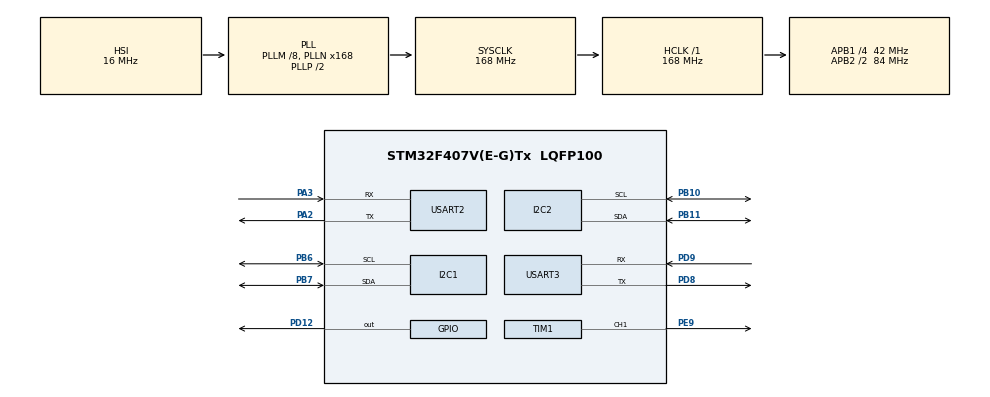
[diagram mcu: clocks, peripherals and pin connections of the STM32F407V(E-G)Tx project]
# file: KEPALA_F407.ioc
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Mcu.Family=STM32F4
Mcu.Name=STM32F407V(E-G)Tx
Mcu.Package=LQFP100
NVIC.PriorityGroup=NVIC_PRIORITYGROUP_4
PA13.Mode=Serial_Wire
PA13.Signal=SYS_JTMS-SWDIO
PA14.Mode=Serial_Wire
PA14.Signal=SYS_JTCK-SWCLK
PA2.Mode=Asynchronous
PA2.Signal=USART2_TX
PA3.Mode=Asynchronous
PA3.Signal=USART2_RX
PB10.Mode=I2C
PB10.Signal=I2C2_SCL
PB11.Mode=I2C
PB11.Signal=I2C2_SDA
PB6.Mode=I2C
PB6.Signal=I2C1_SCL
PB7.Mode=I2C
PB7.Signal=I2C1_SDA
PD12.Signal=GPIO_Output
PD8.Mode=Asynchronous
PD8.Signal=USART3_TX
PD9.Mode=Asynchronous
PD9.Signal=USART3_RX
PE9.Signal=S_TIM1_CH1
PH0-OSC_IN.Mode=HSE-External-Oscillator
PH0-OSC_IN.Signal=RCC_OSC_IN
PH1-OSC_OUT.Mode=HSE-External-Oscillator
PH1-OSC_OUT.Signal=RCC_OSC_OUT
ProjectManager.HeapSize=0x200
ProjectManager.StackSize=0x400
ProjectManager.TargetToolchain=MDK-ARM V5.32
RCC.48MHZClocksFreq_Value=84000000
RCC.AHBFreq_Value=168000000
RCC.APB1CLKDivider=RCC_HCLK_DIV4
RCC.APB1Freq_Value=42000000
RCC.APB1TimFreq_Value=84000000
RCC.APB2CLKDivider=RCC_HCLK_DIV2
RCC.APB2Freq_Value=84000000
RCC.APB2TimFreq_Value=168000000
RCC.CortexFreq_Value=168000000
RCC.HCLKFreq_Value=168000000
RCC.HSE_VALUE=25000000
RCC.HSI_VALUE=16000000
RCC.LSE_VALUE=32768
RCC.PLLM=8
RCC.PLLN=168
RCC.SYSCLKFreq_VALUE=168000000
RCC.SYSCLKSource=RCC_SYSCLKSOURCE_PLLCLK
RCC.VCOOutputFreq_Value=336000000
SH.S_TIM1_CH1.0=TIM1_CH1,PWM Generation1 CH1
TIM1.Channel-PWM\ Generation1\ CH1=TIM_CHANNEL_1
TIM1.Period=1818-1
TIM1.Prescaler=16800-1
USART2.VirtualMode=VM_ASYNC
USART3.VirtualMode=VM_ASYNC
VP_TIM1_VS_ClockSourceINT.Mode=Internal
board=custom

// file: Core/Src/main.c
/* USER CODE BEGIN Header */
/**
  ******************************************************************************
  * @file           : main.c
  * @brief          : Main program body
  ******************************************************************************
  * @attention
  *
  * Copyright (c) 2023 STMicroelectronics.
  * All rights reserved.
  *
  * This software is licensed under terms that can be found in the LICENSE file
  * in the root directory of this software component.
  * If no LICENSE file comes with this software, it is provided AS-IS.
  *
  ******************************************************************************
  */
/* USER CODE END Header */
#include "main.h"

/* USER CODE BEGIN Includes */
#include "AMG8833.h"
#include "DWT_Delay.h"
#include "Huskylens_driver.h"
#include "Ping_driver.h"
#include "RPLidarA1.h"

#include <math.h>
/* USER CODE END Includes */

/* USER CODE BEGIN PTD */
lidar_HandleTypeDef lidar;
lidar_StatusTypeDef status;
lidar_home_status_t home;
huskylens_area_identification_t area;
huskylens_victim_detection_t victim;
amg8833_temperature_table_t fire;
huskylens_info_t huskAll;
huskylens_status_t huskStatus;
huskylens_block_t blocks;
Ping_t pingCapit;
amg8833_fire_t fireDetection;
/* USER CODE END PTD */

/* USER CODE BEGIN PD */
#define DIST_STOPPER 100
/* USER CODE END PD */

I2C_HandleTypeDef hi2c1;
I2C_HandleTypeDef hi2c2;

TIM_HandleTypeDef htim1;

UART_HandleTypeDef huart2;
UART_HandleTypeDef huart3;

void SystemClock_Config(void);
static void MX_GPIO_Init(void);
static void MX_I2C1_Init(void);
static void MX_I2C2_Init(void);
static void MX_TIM1_Init(void);
static void MX_USART2_UART_Init(void);
static void MX_USART3_UART_Init(void);

/* USER CODE BEGIN 0 */
double victimDistance = 0;
double pingDistance=0;
double front = 0;
double left = 0;
double right = 0;
double back = 0;
/* USER CODE END 0 */

int main(void)
{
  /* USER CODE BEGIN 1 */
//	lidar.huart = &huart2;
  /* USER CODE END 1 */

  /* MCU Configuration--------------------------------------------------------*/

  /* Reset of all peripherals, Initializes the Flash interface and the Systick. */
  HAL_Init();

  /* Configure the system clock */
  SystemClock_Config();

  /* Initialize all configured peripherals */
  MX_GPIO_Init();
  MX_I2C1_Init();
  MX_I2C2_Init();
  MX_TIM1_Init();
  MX_USART2_UART_Init();
  MX_USART3_UART_Init();
  /* USER CODE BEGIN 2 */

	//------------------------- START LIDAR CONFIG ------------------------------------------

//	TIM1->CCR1 = (100*2000/100);
//	HAL_TIM_PWM_Start(&htim1, TIM_CHANNEL_1);
//
//	lidar_setup(&lidar);
//	HAL_Delay(1000);
//
	//------------------------- END LIDAR CONFIG --------------------------------------------
	//------------------------- START AMG8833 CONFIG ----------------------------------------

//	if(amg8833_setup(&hi2c1)){
//		HAL_GPIO_TogglePin(GPIOD, GPIO_PIN_12);
//	}

	//------------------------- END AMG8833 CONFIG ------------------------------------------
	//------------------------- START HUSKYLENS CONFIG --------------------------------------
//
//	if(husky_setup(&hi2c2) == HUSKY_OK){
//		HAL_GPIO_TogglePin(GPIOD, GPIO_PIN_12);
//	}
//	huskAll = husky_getAllArrowBlock();
	//------------------------- END HUSKYLENS CONFIG ----------------------------------------
	//------------------------- START PING CONFIG ----------------------------------------

	pingCapit.PING_PIN = GPIO_PIN_8;
	pingCapit.PING_PORT = GPIOB;

	//------------------------- END PING CONFIG ----------------------------------------

  /* USER CODE END 2 */

  /* Infinite loop */
  /* USER CODE BEGIN WHILE */
  while (1)
  {

		//------------------------- START LIDAR READING ------------------------------------------
//		status = lidar_start_scan(&lidar);
//		if(status == LIDAR_OK){
//			while(1){
//				status = lidar_get_point(&lidar);
//				status = lidar_get_average_reading(&lidar);
//				status = lidar_set_distance(&lidar, 50);
//				home =  lidar_from_home(&lidar);
//				front = lidar_read_front(&lidar);
//				left = lidar_read_left(&lidar);
//				right = lidar_read_right(&lidar);
//				back = lidar_read_back(&lidar);
//
		//------------------------- START AMG8833 READING --------------------------------------

//		fireDetection =  amg8844_detect_fire();
		//------------------------- END AMG8833 READING ----------------------------------------

		//------------------------- START AMG8833 READING --------------------------------------
//		blocks = husky_getBlocks();
//		area = husky_get_position();
//		victim = husky_victim_position();
		HAL_Delay(10);
//		victimDistance = husky_distance_prediction();
		//------------------------- END AMG8833 READING ----------------------------------------
		//------------------------- START PING READING --------------------------------------

		pingDistance = ping_read(pingCapit);

		//------------------------- END PING READING ----------------------------------------

//			}
//		}
		//------------------------- END LIDAR READING ------------------------------------------

    /* USER CODE END WHILE */

  }
}

void SystemClock_Config(void)
{
  RCC_OscInitTypeDef RCC_OscInitStruct = {0};
  RCC_ClkInitTypeDef RCC_ClkInitStruct = {0};

  /** Configure the main internal regulator output voltage
  */
  __HAL_RCC_PWR_CLK_ENABLE();
  __HAL_PWR_VOLTAGESCALING_CONFIG(PWR_REGULATOR_VOLTAGE_SCALE1);

  /** Initializes the RCC Oscillators according to the specified parameters
  * in the RCC_OscInitTypeDef structure.
  */
  RCC_OscInitStruct.OscillatorType = RCC_OSCILLATORTYPE_HSI;
  RCC_OscInitStruct.HSIState = RCC_HSI_ON;
  RCC_OscInitStruct.HSICalibrationValue = RCC_HSICALIBRATION_DEFAULT;
  RCC_OscInitStruct.PLL.PLLState = RCC_PLL_ON;
  RCC_OscInitStruct.PLL.PLLSource = RCC_PLLSOURCE_HSI;
  RCC_OscInitStruct.PLL.PLLM = 8;
  RCC_OscInitStruct.PLL.PLLN = 168;
  RCC_OscInitStruct.PLL.PLLP = RCC_PLLP_DIV2;
  RCC_OscInitStruct.PLL.PLLQ = 4;
  if (HAL_RCC_OscConfig(&RCC_OscInitStruct) != HAL_OK)
  {
    Error_Handler();
  }

  /** Initializes the CPU, AHB and APB buses clocks
  */
  RCC_ClkInitStruct.ClockType = RCC_CLOCKTYPE_HCLK|RCC_CLOCKTYPE_SYSCLK
                              |RCC_CLOCKTYPE_PCLK1|RCC_CLOCKTYPE_PCLK2;
  RCC_ClkInitStruct.SYSCLKSource = RCC_SYSCLKSOURCE_PLLCLK;
  RCC_ClkInitStruct.AHBCLKDivider = RCC_SYSCLK_DIV1;
  RCC_ClkInitStruct.APB1CLKDivider = RCC_HCLK_DIV4;
  RCC_ClkInitStruct.APB2CLKDivider = RCC_HCLK_DIV2;

  if (HAL_RCC_ClockConfig(&RCC_ClkInitStruct, FLASH_LATENCY_5) != HAL_OK)
  {
    Error_Handler();
  }
}

static void MX_I2C1_Init(void)
{

  hi2c1.Instance = I2C1;
  hi2c1.Init.ClockSpeed = 100000;
  hi2c1.Init.DutyCycle = I2C_DUTYCYCLE_2;
  hi2c1.Init.OwnAddress1 = 0;
  hi2c1.Init.AddressingMode = I2C_ADDRESSINGMODE_7BIT;
  hi2c1.Init.DualAddressMode = I2C_DUALADDRESS_DISABLE;
  hi2c1.Init.OwnAddress2 = 0;
  hi2c1.Init.GeneralCallMode = I2C_GENERALCALL_DISABLE;
  hi2c1.Init.NoStretchMode = I2C_NOSTRETCH_DISABLE;
  if (HAL_I2C_Init(&hi2c1) != HAL_OK)
  {
    Error_Handler();
  }

}

static void MX_I2C2_Init(void)
{

  hi2c2.Instance = I2C2;
  hi2c2.Init.ClockSpeed = 100000;
  hi2c2.Init.DutyCycle = I2C_DUTYCYCLE_2;
  hi2c2.Init.OwnAddress1 = 0;
  hi2c2.Init.AddressingMode = I2C_ADDRESSINGMODE_7BIT;
  hi2c2.Init.DualAddressMode = I2C_DUALADDRESS_DISABLE;
  hi2c2.Init.OwnAddress2 = 0;
  hi2c2.Init.GeneralCallMode = I2C_GENERALCALL_DISABLE;
  hi2c2.Init.NoStretchMode = I2C_NOSTRETCH_DISABLE;
  if (HAL_I2C_Init(&hi2c2) != HAL_OK)
  {
    Error_Handler();
  }

}

static void MX_TIM1_Init(void)
{

  TIM_ClockConfigTypeDef sClockSourceConfig = {0};
  TIM_MasterConfigTypeDef sMasterConfig = {0};
  TIM_OC_InitTypeDef sConfigOC = {0};
  TIM_BreakDeadTimeConfigTypeDef sBreakDeadTimeConfig = {0};

  htim1.Instance = TIM1;
  htim1.Init.Prescaler = 16800-1;
  htim1.Init.CounterMode = TIM_COUNTERMODE_UP;
  htim1.Init.Period = 1818-1;
  htim1.Init.ClockDivision = TIM_CLOCKDIVISION_DIV1;
  htim1.Init.RepetitionCounter = 0;
  htim1.Init.AutoReloadPreload = TIM_AUTORELOAD_PRELOAD_DISABLE;
  if (HAL_TIM_Base_Init(&htim1) != HAL_OK)
  {
    Error_Handler();
  }
  sClockSourceConfig.ClockSource = TIM_CLOCKSOURCE_INTERNAL;
  if (HAL_TIM_ConfigClockSource(&htim1, &sClockSourceConfig) != HAL_OK)
  {
    Error_Handler();
  }
  if (HAL_TIM_PWM_Init(&htim1) != HAL_OK)
  {
    Error_Handler();
  }
  sMasterConfig.MasterOutputTrigger = TIM_TRGO_RESET;
  sMasterConfig.MasterSlaveMode = TIM_MASTERSLAVEMODE_DISABLE;
  if (HAL_TIMEx_MasterConfigSynchronization(&htim1, &sMasterConfig) != HAL_OK)
  {
    Error_Handler();
  }
  sConfigOC.OCMode = TIM_OCMODE_PWM1;
  sConfigOC.Pulse = 0;
  sConfigOC.OCPolarity = TIM_OCPOLARITY_HIGH;
  sConfigOC.OCNPolarity = TIM_OCNPOLARITY_HIGH;
  sConfigOC.OCFastMode = TIM_OCFAST_DISABLE;
  sConfigOC.OCIdleState = TIM_OCIDLESTATE_RESET;
  sConfigOC.OCNIdleState = TIM_OCNIDLESTATE_RESET;
  if (HAL_TIM_PWM_ConfigChannel(&htim1, &sConfigOC, TIM_CHANNEL_1) != HAL_OK)
  {
    Error_Handler();
  }
  sBreakDeadTimeConfig.OffStateRunMode = TIM_OSSR_DISABLE;
  sBreakDeadTimeConfig.OffStateIDLEMode = TIM_OSSI_DISABLE;
  sBreakDeadTimeConfig.LockLevel = TIM_LOCKLEVEL_OFF;
  sBreakDeadTimeConfig.DeadTime = 0;
  sBreakDeadTimeConfig.BreakState = TIM_BREAK_DISABLE;
  sBreakDeadTimeConfig.BreakPolarity = TIM_BREAKPOLARITY_HIGH;
  sBreakDeadTimeConfig.AutomaticOutput = TIM_AUTOMATICOUTPUT_DISABLE;
  if (HAL_TIMEx_ConfigBreakDeadTime(&htim1, &sBreakDeadTimeConfig) != HAL_OK)
  {
    Error_Handler();
  }
  HAL_TIM_MspPostInit(&htim1);

}

static void MX_USART2_UART_Init(void)
{

  huart2.Instance = USART2;
  huart2.Init.BaudRate = 115200;
  huart2.Init.WordLength = UART_WORDLENGTH_8B;
  huart2.Init.StopBits = UART_STOPBITS_1;
  huart2.Init.Parity = UART_PARITY_NONE;
  huart2.Init.Mode = UART_MODE_TX_RX;
  huart2.Init.HwFlowCtl = UART_HWCONTROL_NONE;
  huart2.Init.OverSampling = UART_OVERSAMPLING_16;
  if (HAL_UART_Init(&huart2) != HAL_OK)
  {
    Error_Handler();
  }

}

static void MX_USART3_UART_Init(void)
{

  huart3.Instance = USART3;
  huart3.Init.BaudRate = 115200;
  huart3.Init.WordLength = UART_WORDLENGTH_8B;
  huart3.Init.StopBits = UART_STOPBITS_1;
  huart3.Init.Parity = UART_PARITY_NONE;
  huart3.Init.Mode = UART_MODE_TX_RX;
  huart3.Init.HwFlowCtl = UART_HWCONTROL_NONE;
  huart3.Init.OverSampling = UART_OVERSAMPLING_16;
  if (HAL_UART_Init(&huart3) != HAL_OK)
  {
    Error_Handler();
  }

}

static void MX_GPIO_Init(void)
{
  GPIO_InitTypeDef GPIO_InitStruct = {0};

  /* GPIO Ports Clock Enable */
  __HAL_RCC_GPIOH_CLK_ENABLE();
  __HAL_RCC_GPIOA_CLK_ENABLE();
  __HAL_RCC_GPIOE_CLK_ENABLE();
  __HAL_RCC_GPIOB_CLK_ENABLE();
  __HAL_RCC_GPIOD_CLK_ENABLE();

  /*Configure GPIO pin Output Level */
  HAL_GPIO_WritePin(GPIOD, GPIO_PIN_12, GPIO_PIN_RESET);

  /*Configure GPIO pin : PD12 */
  GPIO_InitStruct.Pin = GPIO_PIN_12;
  GPIO_InitStruct.Mode = GPIO_MODE_OUTPUT_PP;
  GPIO_InitStruct.Pull = GPIO_NOPULL;
  GPIO_InitStruct.Speed = GPIO_SPEED_FREQ_LOW;
  HAL_GPIO_Init(GPIOD, &GPIO_InitStruct);

}

void Error_Handler(void)
{
  __disable_irq();
  while (1)
  {
  }
}
